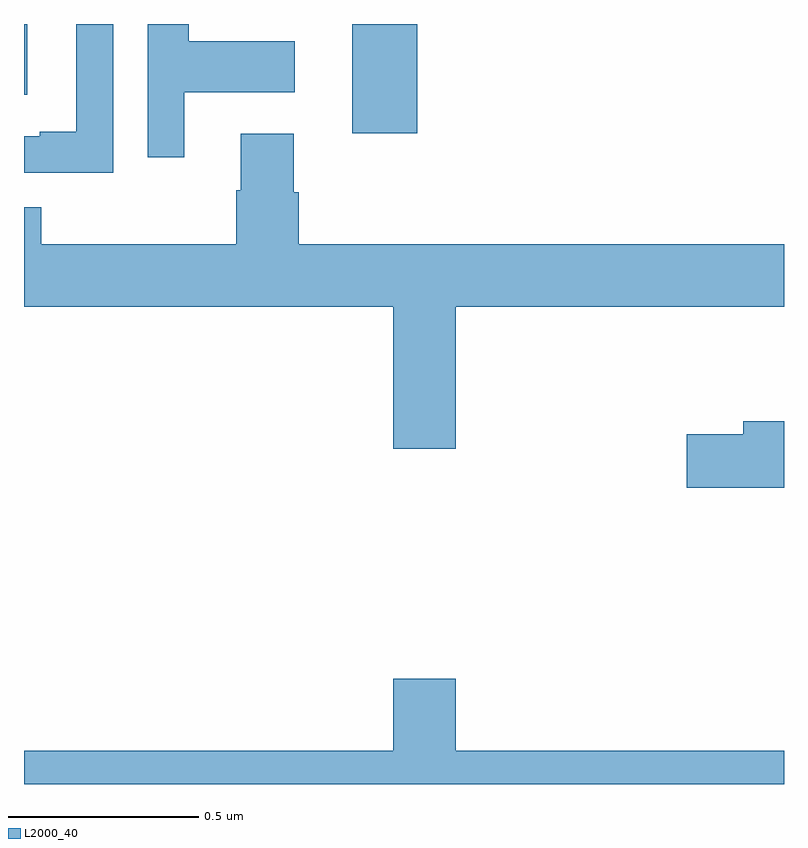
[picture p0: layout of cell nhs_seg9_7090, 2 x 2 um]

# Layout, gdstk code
import gdstk
lib = gdstk.Library(unit=1e-6, precision=1e-09)
def R(c, l, rs):  # rectangles x0, y0, x1, y1
    for r in rs: c.add(gdstk.rectangle(r[:2], r[2:], *l))
def P(c, l, *ps):  # polygons
    for p in ps: c.add(gdstk.Polygon(p, *l))
L2000_40 = (2000, 40)

nhs_seg9_7090 = lib.new_cell('nhs_seg9_7090')
R(nhs_seg9_7090, L2000_40, [(200.864,1194.213,201.035,1194.5), (200,1194.314,200.008,1194.5)])
P(nhs_seg9_7090, L2000_40, [(200.422,1194.32),(200.713,1194.32),(200.713,1194.455),(200.434,1194.455),(200.434,1194.5),(200.325,1194.5),(200.325,1194.15),(200.422,1194.15)],
  [(200.235,1194.5),(200.138,1194.5),(200.138,1194.217),(200.042,1194.217),(200.042,1194.204),(200,1194.204),(200,1194.108),(200.235,1194.108)],
  [(201.136,1193.756),(202,1193.756),(202,1193.92),(200.723,1193.92),(200.723,1194.057),(200.71,1194.057),(200.71,1194.211),(200.57,1194.211),(200.57,1194.062),(200.558,1194.062),(200.558,1193.92),(200.045,1193.92),(200.045,1194.018),(200,1194.018),(200,1193.756),(200.972,1193.756),(200.972,1193.382),(201.136,1193.382)],
  [(202,1193.455),(201.893,1193.455),(201.893,1193.421),(201.744,1193.421),(201.744,1193.279),(202,1193.279)],
  [(202,1192.588),(201.136,1192.588),(201.136,1192.777),(200.972,1192.777),(200.972,1192.588),(200,1192.588),(200,1192.5),(202,1192.5)])

lib.write_gds('nhs_seg9_7090.gds')
